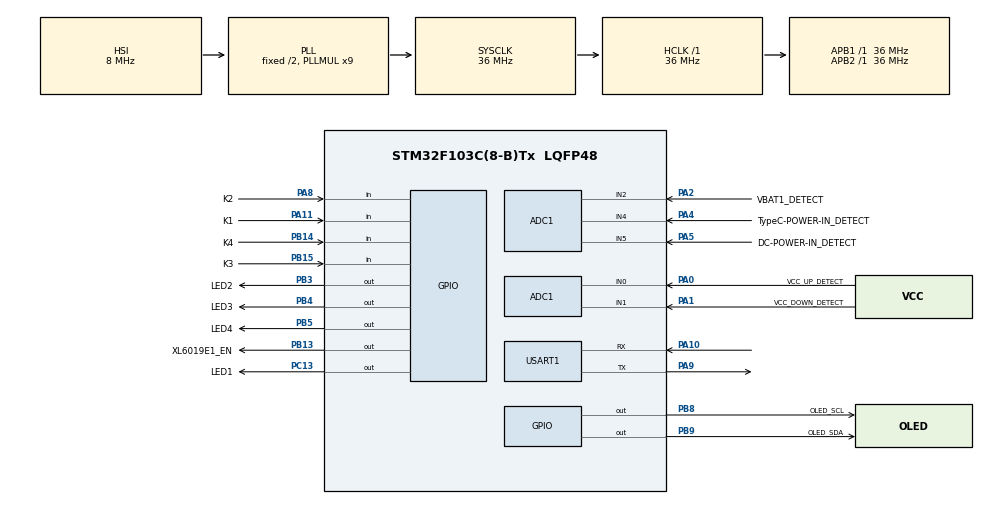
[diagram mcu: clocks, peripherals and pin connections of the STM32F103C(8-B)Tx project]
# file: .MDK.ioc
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ADC1.Channel-0\#ChannelRegularConversion=ADC_CHANNEL_0
ADC1.Channel-1\#ChannelRegularConversion=ADC_CHANNEL_1
ADC1.Channel-2\#ChannelRegularConversion=ADC_CHANNEL_2
ADC1.Channel-3\#ChannelRegularConversion=ADC_CHANNEL_4
ADC1.Channel-4\#ChannelRegularConversion=ADC_CHANNEL_5
ADC1.ContinuousConvMode=ENABLE
ADC1.EnableAnalogWatchDog=true
ADC1.NbrOfConversion=5
ADC1.NbrOfConversionFlag=1
ADC1.Rank-0\#ChannelRegularConversion=1
ADC1.Rank-1\#ChannelRegularConversion=2
ADC1.Rank-2\#ChannelRegularConversion=3
ADC1.Rank-3\#ChannelRegularConversion=4
ADC1.Rank-4\#ChannelRegularConversion=5
ADC1.SamplingTime-0\#ChannelRegularConversion=ADC_SAMPLETIME_28CYCLES_5
ADC1.SamplingTime-1\#ChannelRegularConversion=ADC_SAMPLETIME_28CYCLES_5
ADC1.SamplingTime-2\#ChannelRegularConversion=ADC_SAMPLETIME_28CYCLES_5
ADC1.SamplingTime-3\#ChannelRegularConversion=ADC_SAMPLETIME_28CYCLES_5
ADC1.SamplingTime-4\#ChannelRegularConversion=ADC_SAMPLETIME_28CYCLES_5
ADC1.master=1
Dma.ADC1.0.Direction=DMA_PERIPH_TO_MEMORY
Dma.ADC1.0.Instance=DMA1_Channel1
Dma.ADC1.0.MemDataAlignment=DMA_MDATAALIGN_HALFWORD
Dma.ADC1.0.MemInc=DMA_MINC_ENABLE
Dma.ADC1.0.Mode=DMA_CIRCULAR
Dma.ADC1.0.PeriphDataAlignment=DMA_PDATAALIGN_HALFWORD
Dma.ADC1.0.PeriphInc=DMA_PINC_DISABLE
Dma.ADC1.0.Priority=DMA_PRIORITY_LOW
Dma.Request0=ADC1
Mcu.Family=STM32F1
Mcu.Name=STM32F103C(8-B)Tx
Mcu.Package=LQFP48
NVIC.DMA1_Channel1_IRQn=true\:0\:0\:false\:false\:true\:false\:true\:true
NVIC.PriorityGroup=NVIC_PRIORITYGROUP_4
NVIC.TIM1_UP_IRQn=true\:0\:0\:false\:false\:true\:true\:true\:true
PA0-WKUP.GPIO_Label=VCC_UP_DETECT
PA0-WKUP.Signal=ADCx_IN0
PA1.GPIO_Label=VCC_DOWN_DETECT
PA1.Signal=ADCx_IN1
PA10.Mode=Asynchronous
PA10.Signal=USART1_RX
PA11.GPIO_Label=K1
PA11.GPIO_PuPd=GPIO_PULLUP
PA11.Signal=GPIO_Input
PA13.Mode=Serial_Wire
PA13.Signal=SYS_JTMS-SWDIO
PA14.Mode=Serial_Wire
PA14.Signal=SYS_JTCK-SWCLK
PA2.GPIO_Label=VBAT1_DETECT
PA2.Signal=ADCx_IN2
PA4.GPIO_Label=TypeC-POWER-IN_DETECT
PA4.Signal=ADCx_IN4
PA5.GPIO_Label=DC-POWER-IN_DETECT
PA5.Signal=ADCx_IN5
PA8.GPIO_Label=K2
PA8.GPIO_PuPd=GPIO_PULLUP
PA8.Signal=GPIO_Input
PA9.Mode=Asynchronous
PA9.Signal=USART1_TX
PB13.GPIO_Label=XL6019E1_EN
PB13.Signal=GPIO_Output
PB14.GPIO_Label=K4
PB14.GPIO_PuPd=GPIO_PULLUP
PB14.Signal=GPIO_Input
PB15.GPIO_Label=K3
PB15.GPIO_PuPd=GPIO_PULLUP
PB15.Signal=GPIO_Input
PB3.GPIO_Label=LED2
PB3.PinState=GPIO_PIN_SET
PB3.Signal=GPIO_Output
PB4.GPIO_Label=LED3
PB4.PinState=GPIO_PIN_SET
PB4.Signal=GPIO_Output
PB5.GPIO_Label=LED4
PB5.PinState=GPIO_PIN_SET
PB5.Signal=GPIO_Output
PB8.GPIO_Label=OLED_SCL
PB8.GPIO_ModeDefaultOutputPP=GPIO_MODE_OUTPUT_OD
PB8.GPIO_PuPd=GPIO_NOPULL
PB8.GPIO_Speed=GPIO_SPEED_FREQ_HIGH
PB8.PinState=GPIO_PIN_SET
PB8.Signal=GPIO_Output
PB9.GPIO_Label=OLED_SDA
PB9.GPIO_ModeDefaultOutputPP=GPIO_MODE_OUTPUT_OD
PB9.GPIO_PuPd=GPIO_NOPULL
PB9.GPIO_Speed=GPIO_SPEED_FREQ_HIGH
PB9.PinState=GPIO_PIN_SET
PB9.Signal=GPIO_Output
PC13-TAMPER-RTC.GPIO_Label=LED1
PC13-TAMPER-RTC.PinState=GPIO_PIN_SET
PC13-TAMPER-RTC.Signal=GPIO_Output
ProjectManager.HeapSize=0x200
ProjectManager.StackSize=0x400
ProjectManager.TargetToolchain=MDK-ARM V5.32
RCC.ADCPresc=RCC_ADCPCLK2_DIV6
RCC.AHBFreq_Value=36000000
RCC.APB1Freq_Value=36000000
RCC.APB1TimFreq_Value=36000000
RCC.APB2Freq_Value=36000000
RCC.APB2TimFreq_Value=36000000
RCC.HCLKFreq_Value=36000000
RCC.PLLMUL=RCC_PLL_MUL9
RCC.SYSCLKFreq_VALUE=36000000
RCC.SYSCLKSource=RCC_SYSCLKSOURCE_PLLCLK
RCC.USBFreq_Value=36000000
SH.ADCx_IN0.0=ADC1_IN0,IN0
SH.ADCx_IN1.0=ADC1_IN1,IN1
SH.ADCx_IN2.0=ADC1_IN2,IN2
SH.ADCx_IN4.0=ADC1_IN4,IN4
SH.ADCx_IN5.0=ADC1_IN5,IN5
TIM1.Period=1000 - 1
TIM1.Prescaler=36 - 1
USART1.VirtualMode=VM_ASYNC
VP_TIM1_VS_ClockSourceINT.Mode=Internal
board=custom

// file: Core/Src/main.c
/* USER CODE BEGIN Header */
/**
  ******************************************************************************
  * @file           : main.c
  * @brief          : Main program body
  ******************************************************************************
  * @attention
  *
  * Copyright (c) 2026 STMicroelectronics.
  * All rights reserved.
  *
  * This software is licensed under terms that can be found in the LICENSE file
  * in the root directory of this software component.
  * If no LICENSE file comes with this software, it is provided AS-IS.
  *
  ******************************************************************************
  */
/* USER CODE END Header */
#include "main.h"
#include "adc.h"
#include "dma.h"
#include "tim.h"
#include "usart.h"
#include "gpio.h"

/* USER CODE BEGIN Includes */
#include "MyKey.h"
#include "key_callback.h"
#include "OLED.h"
#include <stdio.h>
#include <string.h>
/* USER CODE END Includes */

void SystemClock_Config(void);

/* USER CODE BEGIN 0 */
void HAL_TIM_PeriodElapsedCallback(TIM_HandleTypeDef *htim)
{
    if (htim->Instance == TIM1)
    {
        Key_Scan();
		}

}
/* USER CODE END 0 */

int main(void)
{

  /* MCU Configuration--------------------------------------------------------*/

  /* Reset of all peripherals, Initializes the Flash interface and the Systick. */
  HAL_Init();

  /* Configure the system clock */
  SystemClock_Config();

  /* Initialize all configured peripherals */
  MX_GPIO_Init();
  MX_DMA_Init();
  MX_TIM1_Init();
  MX_ADC1_Init();
  MX_USART1_UART_Init();
  /* USER CODE BEGIN 2 */
	HAL_TIM_Base_Start_IT(&htim1);
  Key_RegisterAllHandlers();
	OLED_Init();
  /* USER CODE END 2 */

  /* Infinite loop */
  /* USER CODE BEGIN WHILE */
  uint16_t ADC1_Buffer[5];
  //ADC校准
  HAL_ADCEx_Calibration_Start(&hadc1);
  HAL_Delay(100);

  //开启ADC+DMA
  HAL_ADC_Start_DMA(&hadc1, (uint32_t *)ADC1_Buffer, 5);

  float VCC_UP, VCC_DOWN, VBAT, TypeC_POWER_IN, DC_POWER_IN;

	char msg[50];
  while (1)
  {
//		sprintf(msg, "hello_World NIHAO\r\n");
//    HAL_UART_Transmit(&huart1 ,(uint8_t *)msg, strlen(msg), HAL_MAX_DELAY);
//    HAL_Delay(1000);
    VCC_UP = ADC1_Buffer[0] / 4095.0 * 3.32 * 11;
    VCC_DOWN = ADC1_Buffer[1] / 4095.0 * 3.32 * 11;
    VBAT = ADC1_Buffer[2] / 4095.0 * 3.385 * 2;

    OLED_Printf(0, 0, OLED_8X16,  "VCC_UP:  %.2f", VCC_UP);
    OLED_Printf(0, 16, OLED_8X16, "VCC_DOWN:%.2f", VCC_DOWN);
    OLED_Printf(0, 32, OLED_8X16, "VBAT:    %.2f", VBAT);
//    OLED_Printf(0, 24, OLED_6X8, "TypeC_POWER_IN: %.2f", TypeC_POWER_IN);
//    OLED_Printf(0, 32, OLED_6X8, "DC_POWER_IN:    %.2f", DC_POWER_IN);
    OLED_Update();

    // OLED_Printf(0,0,OLED_8X16,"设备正常");
		// OLED_Update();

//	HAL_GPIO_WritePin(LED_GPIO_Port,LED_Pin,GPIO_PIN_SET);
//		HAL_Delay(1000);
//		HAL_GPIO_WritePin(LED_GPIO_Port,LED_Pin,GPIO_PIN_RESET);
//		HAL_Delay(1000);
    /* USER CODE END WHILE */

  }
}

void SystemClock_Config(void)
{
  RCC_OscInitTypeDef RCC_OscInitStruct = {0};
  RCC_ClkInitTypeDef RCC_ClkInitStruct = {0};
  RCC_PeriphCLKInitTypeDef PeriphClkInit = {0};

  /** Initializes the RCC Oscillators according to the specified parameters
  * in the RCC_OscInitTypeDef structure.
  */
  RCC_OscInitStruct.OscillatorType = RCC_OSCILLATORTYPE_HSI;
  RCC_OscInitStruct.HSIState = RCC_HSI_ON;
  RCC_OscInitStruct.HSICalibrationValue = RCC_HSICALIBRATION_DEFAULT;
  RCC_OscInitStruct.PLL.PLLState = RCC_PLL_ON;
  RCC_OscInitStruct.PLL.PLLSource = RCC_PLLSOURCE_HSI_DIV2;
  RCC_OscInitStruct.PLL.PLLMUL = RCC_PLL_MUL9;
  if (HAL_RCC_OscConfig(&RCC_OscInitStruct) != HAL_OK)
  {
    Error_Handler();
  }

  /** Initializes the CPU, AHB and APB buses clocks
  */
  RCC_ClkInitStruct.ClockType = RCC_CLOCKTYPE_HCLK|RCC_CLOCKTYPE_SYSCLK
                              |RCC_CLOCKTYPE_PCLK1|RCC_CLOCKTYPE_PCLK2;
  RCC_ClkInitStruct.SYSCLKSource = RCC_SYSCLKSOURCE_PLLCLK;
  RCC_ClkInitStruct.AHBCLKDivider = RCC_SYSCLK_DIV1;
  RCC_ClkInitStruct.APB1CLKDivider = RCC_HCLK_DIV1;
  RCC_ClkInitStruct.APB2CLKDivider = RCC_HCLK_DIV1;

  if (HAL_RCC_ClockConfig(&RCC_ClkInitStruct, FLASH_LATENCY_1) != HAL_OK)
  {
    Error_Handler();
  }
  PeriphClkInit.PeriphClockSelection = RCC_PERIPHCLK_ADC;
  PeriphClkInit.AdcClockSelection = RCC_ADCPCLK2_DIV6;
  if (HAL_RCCEx_PeriphCLKConfig(&PeriphClkInit) != HAL_OK)
  {
    Error_Handler();
  }
}

void Error_Handler(void)
{
  __disable_irq();
  while (1)
  {
  }
}
